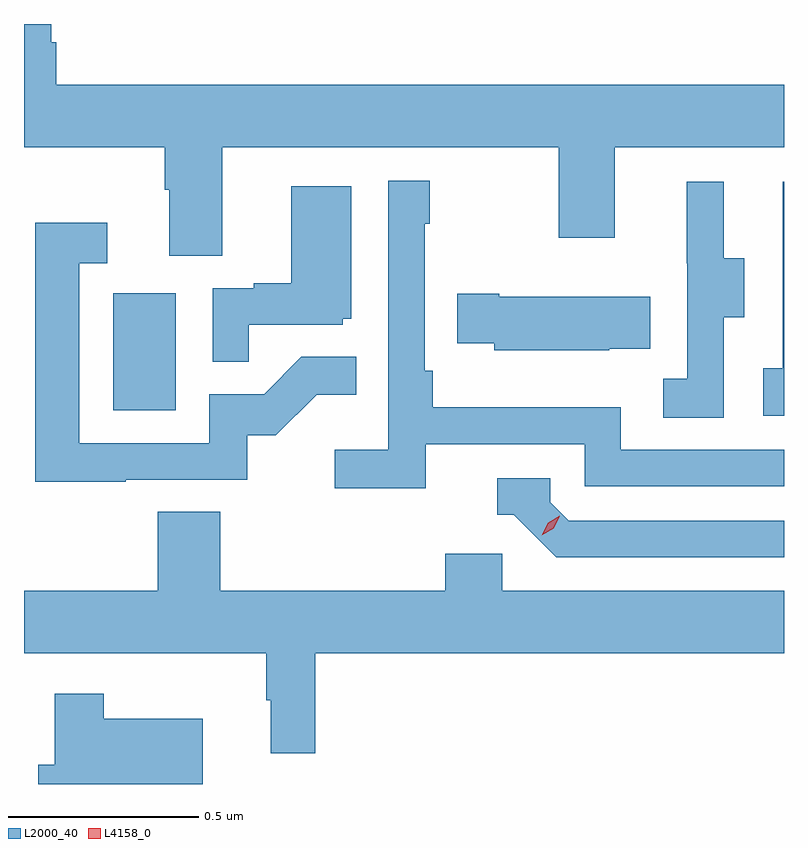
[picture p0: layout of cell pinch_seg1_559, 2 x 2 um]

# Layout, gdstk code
import gdstk
lib = gdstk.Library(unit=1e-6, precision=1e-09)
def R(c, l, rs):  # rectangles x0, y0, x1, y1
    for r in rs: c.add(gdstk.rectangle(r[:2], r[2:], *l))
def P(c, l, *ps):  # polygons
    for p in ps: c.add(gdstk.Polygon(p, *l))
L2000_40 = (2000, 40)
L4158_0 = (4158, 0)

pinch_seg1_559 = lib.new_cell('pinch_seg1_559')
R(pinch_seg1_559, L2000_40, [(1060.424,533.724,1060.588,534.031)])
P(pinch_seg1_559, L2000_40, [(1060.711,534.416),(1061.596,534.416),(1061.596,534.177),(1061.743,534.177),(1061.743,534.416),(1062.189,534.416),(1062.189,534.58),(1060.274,534.58),(1060.274,534.692),(1060.261,534.692),(1060.261,534.74),(1060.189,534.74),(1060.189,534.416),(1060.559,534.416),(1060.559,534.304),(1060.571,534.304),(1060.571,534.13),(1060.711,534.13)],
  [(1061.246,533.634),(1061.664,533.634),(1061.664,533.523),(1062.189,533.523),(1062.189,533.619),(1061.76,533.619),(1061.76,533.731),(1061.264,533.731),(1061.264,533.827),(1061.244,533.827),(1061.244,534.215),(1061.257,534.215),(1061.257,534.328),(1061.148,534.328),(1061.148,533.62),(1061.007,533.62),(1061.007,533.518),(1061.246,533.518)],
  [(1062.189,534.325),(1062.186,534.325),(1062.186,533.834),(1062.135,533.834),(1062.135,533.709),(1062.189,533.709)],
  [(1062.03,533.968),(1062.085,533.968),(1062.085,534.123),(1062.031,534.123),(1062.031,534.325),(1061.933,534.325),(1061.933,534.111),(1061.934,534.111),(1061.934,533.807),(1061.871,533.807),(1061.871,533.704),(1062.03,533.704)],
  [(1060.781,533.949),(1061.028,533.949),(1061.028,533.964),(1061.05,533.964),(1061.05,534.313),(1060.892,534.313),(1060.892,534.058),(1060.793,534.058),(1060.793,534.045),(1060.686,534.045),(1060.686,533.851),(1060.781,533.851)],
  [(1060.457,533.541),(1060.776,533.541),(1060.776,533.658),(1060.852,533.658),(1060.959,533.765),(1061.063,533.765),(1061.063,533.864),(1060.919,533.864),(1060.821,533.766),(1060.677,533.766),(1060.677,533.637),(1060.335,533.637),(1060.335,534.111),(1060.408,534.111),(1060.408,534.217),(1060.219,534.217),(1060.219,533.536),(1060.457,533.536)],
  [(1061.729,533.885),(1061.837,533.885),(1061.837,534.022),(1061.44,534.022),(1061.44,534.03),(1061.329,534.03),(1061.329,533.9),(1061.427,533.9),(1061.427,533.882),(1061.729,533.882)],
  [(1062.189,533.433),(1061.622,533.433),(1061.574,533.481),(1061.574,533.544),(1061.435,533.544),(1061.435,533.448),(1061.478,533.448),(1061.589,533.337),(1062.189,533.337)],
  [(1060.955,533.084),(1062.189,533.084),(1062.189,533.248),(1061.448,533.248),(1061.448,533.346),(1061.297,533.346),(1061.297,533.248),(1060.706,533.248),(1060.706,533.456),(1060.541,533.456),(1060.541,533.248),(1060.189,533.248),(1060.189,533.084),(1060.827,533.084),(1060.827,532.961),(1060.838,532.961),(1060.838,532.821),(1060.955,532.821)],
  [(1060.66,532.912),(1060.399,532.912),(1060.399,532.978),(1060.27,532.978),(1060.27,532.791),(1060.226,532.791),(1060.226,532.74),(1060.66,532.74)])
P(pinch_seg1_559, L4158_0, [(1061.552,533.394),(1061.552,533.394),(1061.568,533.427),(1061.599,533.446),(1061.599,533.446),(1061.599,533.446),(1061.583,533.413),(1061.552,533.394)])

lib.write_gds('pinch_seg1_559.gds')
